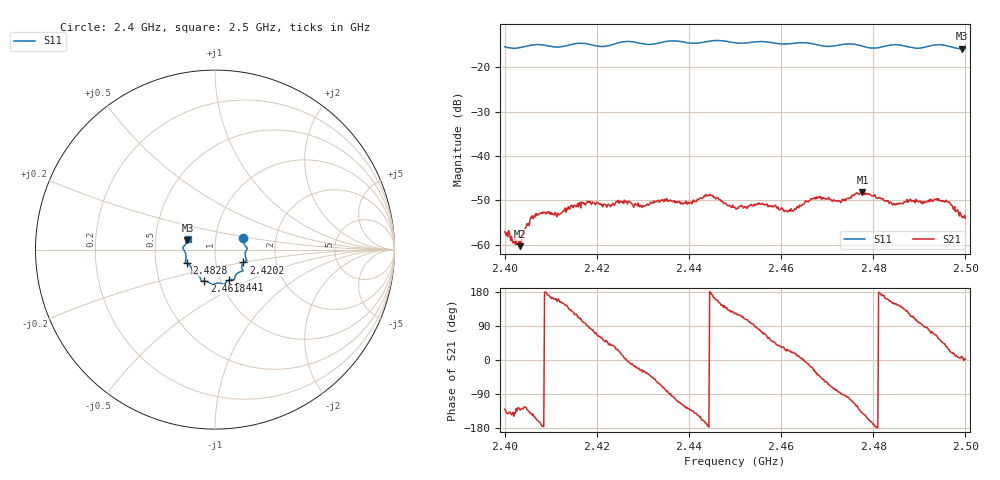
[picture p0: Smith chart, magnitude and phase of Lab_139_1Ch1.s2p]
# Hz S RI R 50
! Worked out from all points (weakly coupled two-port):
!   601 points, 2.4 GHz to 2.5 GHz, reference 50 ohm
!   highest |S21| = -48.21 dB at 2.4777 GHz (marker M1); lowest = -60.4 dB at 2.4033 GHz (marker M2)
!   lowest |S11| = -15.8 dB at 2.4993 GHz (marker M3), VSWR 1.39, Z = 36.5 + j3.84 ohm
!   |S11| at or under -10 dB: start of sweep to end of sweep
!   S12 and S22 are empty: the file has one direction only
!   S11 on the Smith chart (normalised r, x): 2.4 GHz: 1.36, +0.18; 2.4202 GHz: 1.36, -0.20; 2.441 GHz: 1.10, -0.39; 2.4618 GHz: 0.84, -0.30; 2.4828 GHz: 0.72, -0.11; 2.5 GHz: 0.73, +0.09
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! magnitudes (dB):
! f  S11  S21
! 2.4 GHz  -15.4  -57.1
! 2.4033 GHz  -15.5  -60.4
! 2.4063 GHz  -14.9  -53.9
! 2.4117 GHz  -15.4  -53.3
! 2.4167 GHz  -14.5  -50.4
! 2.4202 GHz  -15.2  -50.4
! 2.4297 GHz  -14.6  -51.4
! 2.4333 GHz  -14.5  -50.0
! 2.441 GHz  -14.6  -49.9
! 2.4447 GHz  -14.0  -48.8
! 2.45 GHz  -14.4  -51.6
! 2.4557 GHz  -14.2  -50.9
! 2.4618 GHz  -14.6  -52.2
! 2.4667 GHz  -14.6  -49.7
! 2.4727 GHz  -14.9  -50.1
! 2.4777 GHz  -15.2  -48.2
! 2.4828 GHz  -15.1  -50.1
! 2.4833 GHz  -15.0  -50.4
! 2.4938 GHz  -14.9  -49.6
! 2.4963 GHz  -15.2  -50.4
! 2.4993 GHz  -15.8  -53.9
! 2.5 GHz  -15.7  -54.1
